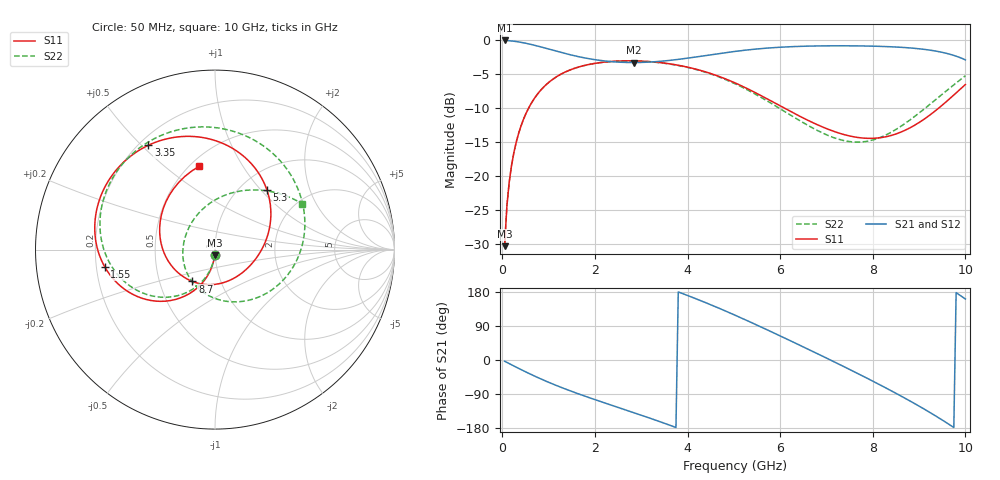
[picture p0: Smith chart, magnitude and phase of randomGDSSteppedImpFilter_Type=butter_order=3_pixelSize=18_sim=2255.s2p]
! freq	dB(S11)	phase(S11)	dB(S12)	phase(S12)
!  dB(S21)	phase(S21)	dB(S22)	phase(S22)
!S-par simulation data
#  GHz  S  DB  R 50
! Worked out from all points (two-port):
!   200 points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, 50 MHz to 10 GHz, reference 50 ohm
!   highest |S21| = -0.01 dB at 50 MHz (marker M1); lowest = -3.3 dB at 2.85 GHz (marker M2)
!   |S21| within 3 dB of the highest: start of sweep to 2.18 GHz; 3.531 GHz to end of sweep
!   lowest |S11| = -30.3 dB at 50 MHz (marker M3), VSWR 1.06, Z = 49.7 - j3.02 ohm
!   |S11| at or under -10 dB: start of sweep to 567.7 MHz; 6.095 GHz to 9.421 GHz (3.326 GHz wide, 42.9 % of centre)
!   |S22| runs from -30.3 to -3.0 dB; largest |S21 - S12| = 0
!   S11 on the Smith chart (normalised r, x): 50 MHz: 0.99, -0.06; 1.55 GHz: 0.23, -0.07; 3.35 GHz: 0.24, +0.52; 5.3 GHz: 1.32, +1.08; 8.7 GHz: 0.73, -0.27; 10 GHz: 0.56, +0.67
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0.05  -30.34 -93.2  -0.01 -3.2  -0.01 -3.2  -30.35 -93.5
0.1  -24.35 -96.4  -0.02 -6.4  -0.02 -6.4  -24.35 -97.0
0.2  -18.43 -102.6  -0.08 -12.7  -0.08 -12.7  -18.43 -103.8
0.45  -11.77 -117.3  -0.34 -28.1  -0.34 -28.1  -11.78 -119.9
0.95  -6.51 -143.9  -1.18 -56.2  -1.18 -56.2  -6.51 -149.5
1.55  -4.13 -171.0  -2.25 -85.2  -2.25 -85.2  -4.14 179.6
1.75  -3.73 -179.0  -2.54 -93.9  -2.54 -93.9  -3.74 170.1
2.85  -3.02 140.5  -3.26 -139.4  -3.26 -139.4  -3.04 119.9
3.35  -3.23 122.6  -3.12 -160.4  -3.12 -160.4  -3.25 96.2
3.4  -3.26 120.8  -3.09 -162.6  -3.09 -162.6  -3.29 93.7
4.3  -4.46 87.3  -2.32 155.9  -2.32 155.9  -4.52 45.3
5.05  -6.34 58.3  -1.60 116.9  -1.60 116.9  -6.47 -1.6
5.3  -7.14 48.7  -1.40 103.2  -1.40 103.2  -7.32 -18.5
6  -9.65 22.3  -1.01 63.6  -1.01 63.6  -10.08 -68.4
6.7  -12.11 -5.1  -0.83 22.8  -0.83 22.8  -12.91 -119.9
7.1  -13.27 -22.7  -0.79 -0.9  -0.79 -0.9  -14.19 -149.1
7.5  -14.09 -42.9  -0.79 -24.9  -0.79 -24.9  -14.92 -177.6
8.35  -14.10 -97.5  -0.92 -78.0  -0.92 -78.0  -13.72 124.9
8.7  -13.24 -125.4  -1.06 -101.1  -1.06 -101.1  -12.24 102.9
9.4  -10.12 168.2  -1.62 -150.8  -1.62 -150.8  -8.50 61.7
9.7  -8.36 135.7  -2.11 -174.1  -2.11 -174.1  -6.83 44.8
10  -6.50 100.6  -2.87 161.0  -2.87 161.0  -5.21 27.8
